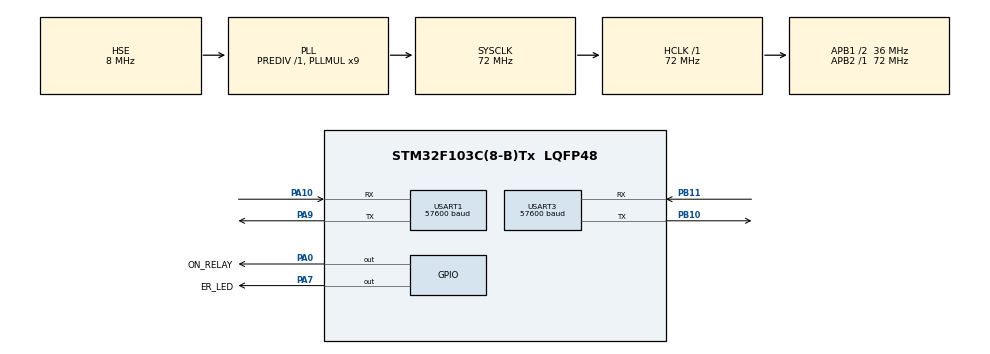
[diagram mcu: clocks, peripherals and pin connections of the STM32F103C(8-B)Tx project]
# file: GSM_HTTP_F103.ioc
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Mcu.Family=STM32F1
Mcu.Name=STM32F103C(8-B)Tx
Mcu.Package=LQFP48
NVIC.PriorityGroup=NVIC_PRIORITYGROUP_4
NVIC.TIM4_IRQn=true\:3\:0\:true\:false\:true\:true\:true
NVIC.USART1_IRQn=true\:1\:0\:true\:false\:true\:true\:true
NVIC.USART3_IRQn=true\:2\:0\:true\:false\:true\:true\:true
PA0-WKUP.GPIO_Label=ON_RELAY
PA0-WKUP.Signal=GPIO_Output
PA10.Mode=Asynchronous
PA10.Signal=USART1_RX
PA13.Mode=Serial_Wire
PA13.Signal=SYS_JTMS-SWDIO
PA14.Mode=Serial_Wire
PA14.Signal=SYS_JTCK-SWCLK
PA7.GPIO_Label=ER_LED
PA7.Signal=GPIO_Output
PA9.Mode=Asynchronous
PA9.Signal=USART1_TX
PB10.Mode=Asynchronous
PB10.Signal=USART3_TX
PB11.Mode=Asynchronous
PB11.Signal=USART3_RX
PD0-OSC_IN.Mode=HSE-External-Oscillator
PD0-OSC_IN.Signal=RCC_OSC_IN
PD1-OSC_OUT.Mode=HSE-External-Oscillator
PD1-OSC_OUT.Signal=RCC_OSC_OUT
ProjectManager.HeapSize=0x200
ProjectManager.StackSize=0x400
ProjectManager.TargetToolchain=TrueSTUDIO
RCC.AHBFreq_Value=72000000
RCC.APB1CLKDivider=RCC_HCLK_DIV2
RCC.APB1Freq_Value=36000000
RCC.APB1TimFreq_Value=72000000
RCC.APB2Freq_Value=72000000
RCC.APB2TimFreq_Value=72000000
RCC.HCLKFreq_Value=72000000
RCC.PLLMUL=RCC_PLL_MUL9
RCC.PLLSourceVirtual=RCC_PLLSOURCE_HSE
RCC.SYSCLKFreq_VALUE=72000000
RCC.SYSCLKSource=RCC_SYSCLKSOURCE_PLLCLK
RCC.USBFreq_Value=72000000
TIM4.Period=9999
TIM4.Prescaler=7199
USART1.BaudRate=57600
USART1.VirtualMode=VM_ASYNC
USART3.BaudRate=57600
USART3.VirtualMode=VM_ASYNC
VP_TIM4_VS_ClockSourceINT.Mode=Internal
board=custom

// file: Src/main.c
/* USER CODE BEGIN Header */
/**
  ******************************************************************************
  * @file           : main.c
  * @brief          : Main program body
  ******************************************************************************
  * @attention
  *
  * <h2><center>&copy; Copyright (c) 2019 STMicroelectronics.
  * All rights reserved.</center></h2>
  *
  * This software component is licensed by ST under BSD 3-Clause license,
  * the "License"; You may not use this file except in compliance with the
  * License. You may obtain a copy of the License at:
  *                        opensource.org/licenses/BSD-3-Clause
  *
  ******************************************************************************
  */
/* USER CODE END Header */

#include "main.h"

/* USER CODE BEGIN Includes */
#include "usart_ring.h"
#include "gprs.h"
/* USER CODE END Includes */

/* USER CODE BEGIN PD */
#define GSM_AVAIL_SIZE 128
#define DBG_AVAIL_SIZE 64
#define HTTP_BUFF_SIZE 64
/* USER CODE END PD */

TIM_HandleTypeDef htim4;

UART_HandleTypeDef huart1;
UART_HandleTypeDef huart3;

/* USER CODE BEGIN PV */
volatile uint8_t flag = 0;
/* USER CODE END PV */

void SystemClock_Config(void);
static void MX_GPIO_Init(void);
static void MX_TIM4_Init(void);
static void MX_USART1_UART_Init(void);
static void MX_USART3_UART_Init(void);

/* USER CODE BEGIN 0 */
/////////////////// удалить символы \r и \n из строки //////////////////////
static void clear_string(char *src)
{
	char *dst = NULL;
	if(!src) return;
	uint8_t i = 0;

	for(dst = src; *src; src++)
	{
		if(i < 2 && (*src == '\n' || *src == '\r'))
		{
			i++;
			continue;
		}
		else if(*src == '\n' || *src == '\r') *src = ' ';

		*dst++ = *src;
	}

	*dst = 0;
}

///////////////////// колбек таймера //////////////////////
void HAL_TIM_PeriodElapsedCallback(TIM_HandleTypeDef *htim)
{
	if(htim->Instance == TIM4)
	{
		flag = 1;
	}
}

//////////////// проверка и установка скорости 19200, нужна один раз /////////////////
void chek_speed(void)
{
  for(uint8_t i = 0; i < 7; i++)
  {
	  uint32_t sp = 0;

	  if(i == 0) sp = 2400;
	  else if(i == 1) sp = 4800;
	  else if(i == 2) sp = 9600;
	  else if(i == 3) sp = 19200;
	  else if(i == 4) sp = 38400;
	  else if(i == 5) sp = 57600;
	  else if(i == 6) sp = 115200;

	  huart1.Instance = USART1;
	  huart1.Init.BaudRate = sp;
	  huart1.Init.WordLength = UART_WORDLENGTH_8B;
	  huart1.Init.StopBits = UART_STOPBITS_1;
	  huart1.Init.Parity = UART_PARITY_NONE;
	  huart1.Init.Mode = UART_MODE_TX_RX;
	  huart1.Init.HwFlowCtl = UART_HWCONTROL_NONE;
	  huart1.Init.OverSampling = UART_OVERSAMPLING_16;

	  if (HAL_UART_Init(&huart1) != HAL_OK)
	  {
		  Error_Handler();
	  }

	  char str[16] = {0,};
	  HAL_UART_Transmit(GSM, (uint8_t*)"AT\r\n", strlen("AT\r\n"), 1000);
	  HAL_Delay(300);

	  if(gsm_available()) //если модуль что-то прислал
	  {
		  uint16_t i = 0;

		  while(gsm_available())
		  {
			  str[i++] = gsm_read();
			  if(i > 15) break;
			  HAL_Delay(2);
		  }

		  if(strstr(str, "OK") != NULL)
		  {
			  char buf[64] = {0,};
			  snprintf(buf, 64, "Uart modem was %lu, switched to 57600\n", huart1.Init.BaudRate);
			  HAL_UART_Transmit(DEBUG, (uint8_t*)buf, strlen(buf), 100);
			  HAL_UART_Transmit(GSM, (uint8_t*)"AT+IPR=57600\r\n", strlen("AT+IPR=57600\r\n"), 1000);
			  HAL_Delay(250);
			  MX_USART1_UART_Init();
			  break;
		  }
	  }
  }
}

void send_http(uint8_t a, uint8_t b)
{
	char buf[HTTP_BUFF_SIZE] = {0,}; // строка должна быть не больше 64 символов, если больше, то надо разбивать на части, и только последняя часть должна содержать символы \r\n
	//snprintf(buf, HTTP_BUFF_SIZE, "AT+HTTPPARA=\"URL\",\"http://some_site.ru/gsm.php?a=%d&b=%d\"\r\n", a, b); // адрес страницы, которую хотим запросить у сервера или отправить данные.
	snprintf(buf, HTTP_BUFF_SIZE, "AT+HTTPPARA=\"URL\",\"http://example.com/\"\r\n");

	uint8_t len = strlen(buf);
	uint8_t flag = 0;

	if(len < HTTP_BUFF_SIZE + 1)
	{
		HAL_UART_Transmit(DEBUG, (uint8_t*)"Send to gsm address\n", strlen("Send to gsm address\n"), 100); // debug
		HAL_UART_Transmit(GSM, (uint8_t*)buf, strlen(buf), 1000);
	}
	else
	{
		HAL_UART_Transmit(DEBUG, (uint8_t*)"Error, string > 64\n", strlen("Error, string > 64\n"), 100); // Error
		return;
	}

	HAL_Delay(100);
	memset(buf, 0, HTTP_BUFF_SIZE);

	if(gsm_available()) //если модуль что-то прислал
	{
		uint8_t i = 0;

		while(gsm_available())
		{
			buf[i++] = gsm_read();
			if(i > HTTP_BUFF_SIZE - 1) break;
			HAL_Delay(1);
		}

		if(strstr(buf, "OK") != NULL)
		{
			HAL_UART_Transmit(DEBUG, (uint8_t*)"Send to gsm AT+HTTPACTION=0\n", strlen("Send to gsm AT+HTTPACTION=0\n"), 100); // debug
			HAL_UART_Transmit(GSM, (uint8_t*)"AT+HTTPACTION=0\r\n", strlen("AT+HTTPACTION=0\r\n"), 1000); // делаем запрос (0 - GET, 1 - POST, 2 - HEAD)
		}
		else
		{
			HAL_UART_Transmit(DEBUG, (uint8_t*)"Error AT+HTTPPARA=URL\n", strlen("Error AT+HTTPPARA=URL\n"), 1000);
			HAL_UART_Transmit(DEBUG, (uint8_t*)buf, strlen(buf), 1000); // Error
			// как-то обрабатываем ошибку
			return;
		}

		///////////////////////////////// ожидание "ОК" после AT+HTTPACTION=0 /////////////////////////////////////
		memset(buf, 0, HTTP_BUFF_SIZE);

		for(uint16_t f = 0; f < 500; f++) // ожидание "ОК" после AT+HTTPACTION=0
		{
			if(gsm_available())
			{
				uint8_t k = 0;

				while(gsm_available())
				{
					buf[k++] = gsm_read();
					if(k > HTTP_BUFF_SIZE - 1) break;
					HAL_Delay(1);
				}

				if(strstr(buf, "OK") != NULL)
				{
					HAL_UART_Transmit(DEBUG, (uint8_t*)"AT+HTTPACTION OK, wait...\n", strlen("AT+HTTPACTION OK, wait...\n"), 100); // debug
					break; // for()
				}
				else
				{
					HAL_UART_Transmit(DEBUG, (uint8_t*)"Error AT+HTTPACTION\n", strlen("Error AT+HTTPACTION\n"), 1000);
					HAL_UART_Transmit(DEBUG, (uint8_t*)buf, strlen(buf), 1000); // Error
					// как-то обрабатываем ошибку
					return;
				}
			}

			if(f == 499)
			{
				HAL_UART_Transmit(DEBUG, (uint8_t*)"Error, not OK AT+HTTPACTION\n", strlen("Error, not OK AT+HTTPACTION\n"), 1000);
				return;
			}

			HAL_Delay(1);
		}

		/////////////////////////////// +HTTPACTION:0,200,x /////////////////////////////////////
		memset(buf, 0, HTTP_BUFF_SIZE);

		for(uint16_t f = 0; f < 10000; f++) // ожидание +HTTPACTION:0,200,x
		{
			if(gsm_available())
			{
				uint8_t k = 0;

				while(gsm_available())
				{
					buf[k++] = gsm_read();
					if(k > HTTP_BUFF_SIZE - 1) break;
					HAL_Delay(1);
				}

				if(strstr(buf, "+HTTPACTION:") != NULL)
				{
					if(strstr(buf, "200") != NULL)
					{
						HAL_UART_Transmit(DEBUG, (uint8_t*)"Server 200, send AT+HTTPREAD\n", strlen("Server 200, send AT+HTTPREAD\n"), 1000); // debug
						HAL_UART_Transmit(GSM, (uint8_t*)"AT+HTTPREAD\r\n", strlen("AT+HTTPREAD\r\n"), 1000); // команда на чтение полученых данных
						flag = 1;
						break; // for()
					}
					else
					{
						HAL_UART_Transmit(DEBUG, (uint8_t*)"Error, Server not 200\n", strlen("Error, Server not 200\n"), 1000);
						HAL_UART_Transmit(DEBUG, (uint8_t*)buf, strlen(buf), 1000); // Error
						// как-то обрабатываем ошибку
						return;
					}
				}
				else
				{
					HAL_UART_Transmit(DEBUG, (uint8_t*)"Error +HTTPACTION answer\n", strlen("Error +HTTPACTION answer\n"), 1000);
					HAL_UART_Transmit(DEBUG, (uint8_t*)buf, strlen(buf), 1000); // Error
					// как-то обрабатываем ошибку
					return;
				}
			}

			if(f == 9999)
			{
				HAL_UART_Transmit(DEBUG, (uint8_t*)"Error, not HTTPACTION\n", strlen("Error, not HTTPACTION\n"), 1000);
				return;
			}

			HAL_Delay(1);
		}

		///////////////////////////////// чтение ответа сервера /////////////////////////////////////
		if(flag)
		{
			flag = 0;
			HAL_Delay(500);
			char read_buf[GPRS_RX_BUFFER_SIZE] = {0,};

			while(gsm_available())
			{
				uint16_t i = 0;
				memset(read_buf, 0, GPRS_RX_BUFFER_SIZE);

				while(gsm_available())
				{
					read_buf[i++] = gsm_read();
					if(i > GPRS_RX_BUFFER_SIZE - 1) break;
				}

				HAL_UART_Transmit(DEBUG, (uint8_t*)"\n----------\nREAD_BUF:\n----------\n", strlen("\n----------\nREAD_BUF:\n----------\n"), 1000);
				HAL_UART_Transmit(DEBUG, (uint8_t*)read_buf, strlen(read_buf), 1000);

				// тут можно парсить ответ
			}
		}
	}
	else
	{
		HAL_UART_Transmit(DEBUG, (uint8_t*)"AT+HTTPPARA not reply\n", strlen("AT+HTTPPARA not reply\n"), 100); // Error
		// как-то обрабатываем ошибку
		return;
	}

}
/* USER CODE END 0 */

int main(void)
{

  /* MCU Configuration--------------------------------------------------------*/

  /* Reset of all peripherals, Initializes the Flash interface and the Systick. */
  HAL_Init();

  /* Configure the system clock */
  SystemClock_Config();

  /* Initialize all configured peripherals */
  MX_GPIO_Init();
  MX_TIM4_Init();
  MX_USART1_UART_Init();
  MX_USART3_UART_Init();
  /* USER CODE BEGIN 2 */
  HAL_Delay(1000);
  HAL_GPIO_WritePin(ON_RELAY_GPIO_Port, ON_RELAY_Pin, GPIO_PIN_SET);
  HAL_Delay(6000); // задержка чтоб модем успел раздуплиться, если его включение происходит вместе с включением МК

  __HAL_UART_ENABLE_IT(GSM, UART_IT_RXNE);
  __HAL_UART_ENABLE_IT(DEBUG, UART_IT_RXNE);

  chek_speed(); // проверка и установка скорости 57600, нужна один раз

  ////////////////// настройка модема ///////////////////
  set_comand(ATCPAS);  // проверка статуса модема
  set_comand(ATCREG);  // проверка регистрации в сети - должен вернуть  +CREG: 0,1
  set_comand(ATCLIP1); // включить АОН
  set_comand(ATE);     // отключить «эхо»
  set_comand(ATS);     // поднимать трубку только "вручную"
  //set_comand(ATDDET);  // включить DTMF
  //set_comand(ATCCLKK); // установить дату/время
  set_comand(ATCMEE);  // включить расшифровку ошибок

  /*------------------- БЛОК SMS START --------------------*/
  /////////////////// настройки для работы с sms ////////////////
  //set_comand(ATCMGF);    // устанавливает текстовый режим смс-сообщения
  //set_comand(ATCPBS);    // открывает доступ к данным телефонной книги SIM-карты
  //set_comand(ATCSCS);    // кодировка текста - GSM
  //set_comand(ATCNMI);    // настройка вывода смс в консоль
  /*-------------------- БЛОК SMS END --------------------*/

  /*------------------- БЛОК INFA START --------------------*/
  //////////////////// различная инфа /////////////////////
  //set_comand(ATIPR);       // скорость usart'a модема
  //set_comand(ATI);         // название и версия модуля
  //set_comand(ATCGSN);      // считывание IMEI из EEPROM
  //set_comand(ATCSPN);      // оператор сети
  /*-------------------- БЛОК INFA END --------------------*/

  /*------------------- БЛОК HTTP START --------------------*/
  //////////////////// HTTP НАСТРОЙКА /////////////////////
  set_comand(ATCGATT1);      // включить GPRS сервис
  set_comand(ATCGATT);       // проверить подключен ли к GPRS - +CGATT: 1

  set_comand(ATSAPBR31CG);   // используем GPRS соединение
  set_comand(ATSAPBR31APN);  // APN
  set_comand(ATSAPBR31U);    // user
  set_comand(ATSAPBR31P);    // pass
  set_comand(ATSAPBR11);     // установить соединение

  //////////////////// HTTP ПРОВЕРКА //////////////////////
  set_comand(ATSAPBR21);     // посмотреть полученный IP адрес - +SAPBR: 1,1,"IP.ад.ре.с"
  set_comand(ATSAPBR41);     // посмотреть текущие настройки подключения

  //////////////////// HTTP ИНИЦИАЛИЗАЦИЯ //////////////////////
  set_comand(ATHTTPINIT);    // инициализация HTTP службы
  set_comand(ATHTTPPARA);    // установка CID параметра для http сессии
  /*-------------------- БЛОК HTTP END --------------------*/

  send_http(57, 69); // отправка данных серверу

  HAL_TIM_Base_Start_IT(&htim4);

  uint16_t count = 0;
  /* USER CODE END 2 */

  /* Infinite loop */
  /* USER CODE BEGIN WHILE */
  while (1)
  {
		if(flag == 1) // срабатывает раз в секунду выводить время
		{
			flag = 0;
			//get_date_time(); // будет раз в секунду выводить время
			count++;
		}

		if(count > 59) // каждые 60 секунд
		{
			count = 0;
			//send_http(57, 69);
		}

		if(gsm_available()) //если модуль что-то прислал
		{
			uint16_t i = 0;

			char buf[GSM_AVAIL_SIZE] = {0,};
			char str[GSM_AVAIL_SIZE] = {0,};
			HAL_Delay(50);

			while(gsm_available())
			{
				buf[i++] = gsm_read();
				if(i > GSM_AVAIL_SIZE - 1) break;
				HAL_Delay(1);
			}

			clear_string(buf); // очищаем строку от символов \r и \n

			if(strstr(buf, "RING") != NULL) // ЕСЛИ ЭТО ЗВОНОК
			{
				if(strstr(buf, "9823124561") != NULL) // если звонит нужный номер
				{
					// что-то делаем
					HAL_UART_Transmit(DEBUG, (uint8_t*)"My number\n", strlen("My number\n"), 1000);
					//incoming_call(); // можно принять звонок
					//HAL_NVIC_SystemReset(); // RESET
					disable_connection(); // сброс соединения
				}
			}
			else if(strstr(buf, "+SAPBR") != NULL)
			{
				if(strstr(buf, "DEACT") != NULL)
				{
					set_comand(ATSAPBR11); // установить соединение
				}
			}

			snprintf(str, GSM_AVAIL_SIZE, "%s\n", buf);
			HAL_UART_Transmit(DEBUG, (uint8_t*)str, strlen(str), 1000);
		}

		////////////////////////////////////// DEBUG ////////////////////////////////////////
		if(dbg_available()) //если послали в терминал какую-то команду, то она перенаправиться в модем
		{
			uint8_t i = 0;
			char dbg_str[DBG_AVAIL_SIZE] = {0,};
			char dbg_buf[DBG_AVAIL_SIZE] = {0,};

			while(dbg_available())
			{
				dbg_buf[i++] = dbg_read();
				if(i > DBG_AVAIL_SIZE - 1) break;
				HAL_Delay(1);
			}

			clear_string(dbg_buf);
			snprintf(dbg_str, DBG_AVAIL_SIZE, "%s\r\n", dbg_buf);
			HAL_UART_Transmit(GSM, (uint8_t*)dbg_str, strlen(dbg_str), 1000);
		}
    /* USER CODE END WHILE */

  }
}

void SystemClock_Config(void)
{
  RCC_OscInitTypeDef RCC_OscInitStruct = {0};
  RCC_ClkInitTypeDef RCC_ClkInitStruct = {0};

  /** Initializes the CPU, AHB and APB busses clocks
  */
  RCC_OscInitStruct.OscillatorType = RCC_OSCILLATORTYPE_HSE;
  RCC_OscInitStruct.HSEState = RCC_HSE_ON;
  RCC_OscInitStruct.HSEPredivValue = RCC_HSE_PREDIV_DIV1;
  RCC_OscInitStruct.HSIState = RCC_HSI_ON;
  RCC_OscInitStruct.PLL.PLLState = RCC_PLL_ON;
  RCC_OscInitStruct.PLL.PLLSource = RCC_PLLSOURCE_HSE;
  RCC_OscInitStruct.PLL.PLLMUL = RCC_PLL_MUL9;
  if (HAL_RCC_OscConfig(&RCC_OscInitStruct) != HAL_OK)
  {
    Error_Handler();
  }
  /** Initializes the CPU, AHB and APB busses clocks
  */
  RCC_ClkInitStruct.ClockType = RCC_CLOCKTYPE_HCLK|RCC_CLOCKTYPE_SYSCLK
                              |RCC_CLOCKTYPE_PCLK1|RCC_CLOCKTYPE_PCLK2;
  RCC_ClkInitStruct.SYSCLKSource = RCC_SYSCLKSOURCE_PLLCLK;
  RCC_ClkInitStruct.AHBCLKDivider = RCC_SYSCLK_DIV1;
  RCC_ClkInitStruct.APB1CLKDivider = RCC_HCLK_DIV2;
  RCC_ClkInitStruct.APB2CLKDivider = RCC_HCLK_DIV1;

  if (HAL_RCC_ClockConfig(&RCC_ClkInitStruct, FLASH_LATENCY_2) != HAL_OK)
  {
    Error_Handler();
  }
}

static void MX_TIM4_Init(void)
{

  TIM_ClockConfigTypeDef sClockSourceConfig = {0};
  TIM_MasterConfigTypeDef sMasterConfig = {0};

  htim4.Instance = TIM4;
  htim4.Init.Prescaler = 7199;
  htim4.Init.CounterMode = TIM_COUNTERMODE_UP;
  htim4.Init.Period = 9999;
  htim4.Init.ClockDivision = TIM_CLOCKDIVISION_DIV1;
  htim4.Init.AutoReloadPreload = TIM_AUTORELOAD_PRELOAD_DISABLE;
  if (HAL_TIM_Base_Init(&htim4) != HAL_OK)
  {
    Error_Handler();
  }
  sClockSourceConfig.ClockSource = TIM_CLOCKSOURCE_INTERNAL;
  if (HAL_TIM_ConfigClockSource(&htim4, &sClockSourceConfig) != HAL_OK)
  {
    Error_Handler();
  }
  sMasterConfig.MasterOutputTrigger = TIM_TRGO_RESET;
  sMasterConfig.MasterSlaveMode = TIM_MASTERSLAVEMODE_DISABLE;
  if (HAL_TIMEx_MasterConfigSynchronization(&htim4, &sMasterConfig) != HAL_OK)
  {
    Error_Handler();
  }

}

static void MX_USART1_UART_Init(void)
{

  huart1.Instance = USART1;
  huart1.Init.BaudRate = 57600;
  huart1.Init.WordLength = UART_WORDLENGTH_8B;
  huart1.Init.StopBits = UART_STOPBITS_1;
  huart1.Init.Parity = UART_PARITY_NONE;
  huart1.Init.Mode = UART_MODE_TX_RX;
  huart1.Init.HwFlowCtl = UART_HWCONTROL_NONE;
  huart1.Init.OverSampling = UART_OVERSAMPLING_16;
  if (HAL_UART_Init(&huart1) != HAL_OK)
  {
    Error_Handler();
  }

}

static void MX_USART3_UART_Init(void)
{

  huart3.Instance = USART3;
  huart3.Init.BaudRate = 57600;
  huart3.Init.WordLength = UART_WORDLENGTH_8B;
  huart3.Init.StopBits = UART_STOPBITS_1;
  huart3.Init.Parity = UART_PARITY_NONE;
  huart3.Init.Mode = UART_MODE_TX_RX;
  huart3.Init.HwFlowCtl = UART_HWCONTROL_NONE;
  huart3.Init.OverSampling = UART_OVERSAMPLING_16;
  if (HAL_UART_Init(&huart3) != HAL_OK)
  {
    Error_Handler();
  }

}

static void MX_GPIO_Init(void)
{
  GPIO_InitTypeDef GPIO_InitStruct = {0};

  /* GPIO Ports Clock Enable */
  __HAL_RCC_GPIOD_CLK_ENABLE();
  __HAL_RCC_GPIOA_CLK_ENABLE();
  __HAL_RCC_GPIOB_CLK_ENABLE();

  /*Configure GPIO pin Output Level */
  HAL_GPIO_WritePin(GPIOA, ON_RELAY_Pin|ER_LED_Pin, GPIO_PIN_RESET);

  /*Configure GPIO pins : ON_RELAY_Pin ER_LED_Pin */
  GPIO_InitStruct.Pin = ON_RELAY_Pin|ER_LED_Pin;
  GPIO_InitStruct.Mode = GPIO_MODE_OUTPUT_PP;
  GPIO_InitStruct.Pull = GPIO_NOPULL;
  GPIO_InitStruct.Speed = GPIO_SPEED_FREQ_LOW;
  HAL_GPIO_Init(GPIOA, &GPIO_InitStruct);

}

void Error_Handler(void)
{
}

/************************ (C) COPYRIGHT STMicroelectronics *****END OF FILE****/
